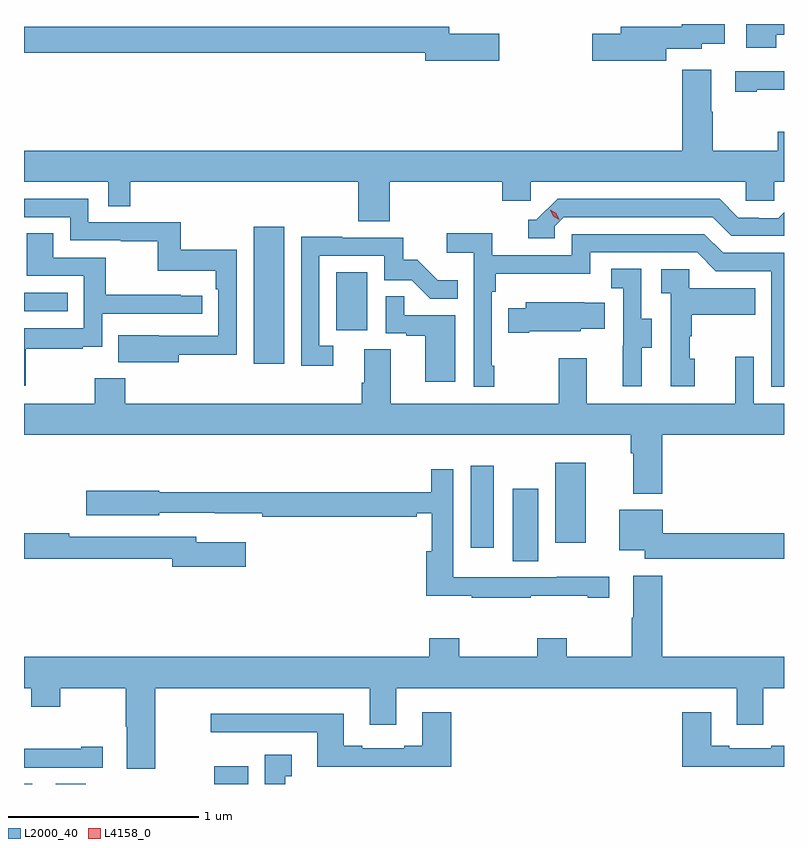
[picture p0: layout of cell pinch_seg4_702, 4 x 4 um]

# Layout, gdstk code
import gdstk
lib = gdstk.Library(unit=1e-6, precision=1e-09)
def R(c, l, rs):  # rectangles x0, y0, x1, y1
    for r in rs: c.add(gdstk.rectangle(r[:2], r[2:], *l))
def P(c, l, *ps):  # polygons
    for p in ps: c.add(gdstk.Polygon(p, *l))
L2000_40 = (2000, 40)
L4158_0 = (4158, 0)

pinch_seg4_702 = lib.new_cell('pinch_seg4_702')
R(pinch_seg4_702, L2000_40, [(888.285,828.283,888.328,828.284), (888.452,828.283,888.61,828.284), (889.286,828.283,889.465,828.376), (890.858,829.456,890.992,829.837), (890.636,829.527,890.758,829.957), (891.08,829.554,891.241,829.975), (889.493,830.496,889.654,831.217), (889.928,830.67,890.092,830.977), (888.285,830.772,888.515,830.868)])
P(pinch_seg4_702, L2000_40, [(892.243,832.226),(892.285,832.226),(892.285,832.283),(892.085,832.283),(892.085,832.158),(892.243,832.158)],
  [(891.664,832.152),(891.852,832.152),(891.852,832.178),(891.973,832.178),(891.973,832.283),(891.746,832.283),(891.746,832.268),(891.425,832.268),(891.425,832.232),(891.276,832.232),(891.276,832.09),(891.664,832.09)],
  [(890.785,832.232),(890.524,832.232),(890.524,832.268),(888.285,832.268),(888.285,832.132),(890.396,832.132),(890.396,832.09),(890.785,832.09)],
  [(890.21,831.452),(890.801,831.452),(890.801,831.354),(890.952,831.354),(890.952,831.452),(892.083,831.452),(892.083,831.354),(892.233,831.354),(892.233,831.452),(892.285,831.452),(892.285,831.715),(892.252,831.715),(892.252,831.616),(891.909,831.616),(891.909,831.821),(891.901,831.821),(891.901,832.042),(891.749,832.042),(891.749,831.616),(888.285,831.616),(888.285,831.452),(888.729,831.452),(888.729,831.325),(888.845,831.325),(888.845,831.452),(890.045,831.452),(890.045,831.244),(890.21,831.244)],
  [(892.141,831.937),(892.285,831.937),(892.285,832.035),(892.029,832.035),(892.029,831.927),(892.141,831.927)],
  [(889.099,830.542),(889.404,830.542),(889.404,831.094),(889.111,831.094),(889.111,831.24),(888.624,831.24),(888.624,831.363),(888.285,831.363),(888.285,831.267),(888.528,831.267),(888.528,831.144),(888.793,831.144),(888.793,831.139),(888.99,831.139),(888.99,830.984),(889.295,830.984),(889.295,830.888),(889.308,830.888),(889.308,830.643),(888.995,830.643),(888.995,830.644),(888.781,830.644),(888.781,830.504),(889.099,830.504)],
  [(891.078,831.219),(891.126,831.267),(891.909,831.267),(892.008,831.168),(892.285,831.168),(892.285,831.292),(892.255,831.261),(892.152,831.261),(892.152,831.264),(892.045,831.264),(891.946,831.363),(891.093,831.363),(890.982,831.252),(890.939,831.252),(890.939,831.156),(891.078,831.156)],
  [(890.761,830.485),(890.748,830.485),(890.748,830.873),(890.768,830.873),(890.768,830.969),(891.264,830.969),(891.264,831.081),(891.828,831.081),(891.927,830.982),(892.218,830.982),(892.218,830.373),(892.285,830.373),(892.285,831.078),(891.964,831.078),(891.865,831.177),(891.168,831.177),(891.168,831.066),(890.75,831.066),(890.75,831.182),(890.511,831.182),(890.511,831.08),(890.652,831.08),(890.652,830.373),(890.761,830.373)],
  [(888.295,830.574),(888.593,830.574),(888.593,830.585),(888.696,830.585),(888.696,830.757),(889.222,830.757),(889.222,830.853),(889.109,830.853),(889.109,830.858),(888.716,830.858),(888.716,831.054),(888.439,831.054),(888.439,831.182),(888.299,831.182),(888.299,830.958),(888.6,830.958),(888.6,830.682),(888.285,830.682),(888.285,830.379),(888.295,830.379)],
  [(889.912,830.589),(889.839,830.589),(889.839,831.063),(890.181,831.063),(890.181,830.934),(890.325,830.934),(890.423,830.836),(890.567,830.836),(890.567,830.935),(890.463,830.935),(890.356,831.042),(890.28,831.042),(890.28,831.159),(889.961,831.159),(889.961,831.164),(889.743,831.164),(889.743,830.484),(889.912,830.484)],
  [(891.535,830.578),(891.589,830.578),(891.589,830.733),(891.534,830.733),(891.534,830.996),(891.375,830.996),(891.375,830.893),(891.438,830.893),(891.438,830.589),(891.437,830.589),(891.437,830.376),(891.535,830.376)],
  [(891.814,830.52),(891.789,830.52),(891.789,830.639),(891.799,830.639),(891.799,830.753),(892.133,830.753),(892.133,830.893),(891.786,830.893),(891.786,830.991),(891.639,830.991),(891.639,830.867),(891.69,830.867),(891.69,830.376),(891.814,830.376)],
  [(890.554,830.751),(890.285,830.751),(890.285,830.849),(890.19,830.849),(890.19,830.655),(890.297,830.655),(890.297,830.643),(890.396,830.643),(890.396,830.4),(890.554,830.4)],
  [(890.944,830.666),(891.216,830.666),(891.216,830.678),(891.341,830.678),(891.341,830.815),(891.233,830.815),(891.233,830.818),(890.927,830.818),(890.927,830.788),(890.833,830.788),(890.833,830.659),(890.944,830.659)],
  [(891.644,830.12),(892.285,830.12),(892.285,830.284),(892.125,830.284),(892.125,830.533),(892.028,830.533),(892.028,830.284),(891.247,830.284),(891.247,830.524),(891.1,830.524),(891.1,830.284),(890.215,830.284),(890.215,830.57),(890.075,830.57),(890.075,830.396),(890.063,830.396),(890.063,830.284),(888.818,830.284),(888.818,830.419),(888.658,830.419),(888.658,830.284),(888.285,830.284),(888.285,830.12),(891.479,830.12),(891.479,830.024),(891.491,830.024),(891.491,829.811),(891.644,829.811)],
  [(890.951,829.273),(891.251,829.273),(891.251,829.263),(891.364,829.263),(891.364,829.373),(891.088,829.373),(891.088,829.371),(890.754,829.371),(890.754,829.372),(890.544,829.372),(890.544,829.939),(890.428,829.939),(890.428,829.819),(888.996,829.819),(888.996,829.827),(888.612,829.827),(888.612,829.697),(888.996,829.697),(888.996,829.71),(889.288,829.71),(889.288,829.709),(889.54,829.709),(889.54,829.69),(890.351,829.69),(890.351,829.709),(890.432,829.709),(890.432,829.507),(890.402,829.507),(890.402,829.273),(890.641,829.273),(890.641,829.263),(890.951,829.263)],
  [(892.285,829.604),(891.646,829.604),(891.646,829.726),(891.419,829.726),(891.419,829.514),(891.552,829.514),(891.552,829.468),(892.285,829.468)],
  [(889.453,829.555),(889.192,829.555),(889.192,829.584),(888.524,829.584),(888.524,829.604),(888.285,829.604),(888.285,829.468),(889.064,829.468),(889.064,829.426),(889.453,829.426)],
  [(888.975,828.788),(890.105,828.788),(890.105,828.594),(890.245,828.594),(890.245,828.788),(892.037,828.788),(892.037,828.594),(892.177,828.594),(892.177,828.788),(892.285,828.788),(892.285,828.952),(891.644,828.952),(891.644,829.378),(891.491,829.378),(891.491,829.157),(891.484,829.157),(891.484,828.952),(891.141,828.952),(891.141,829.051),(890.986,829.051),(890.986,828.952),(890.577,828.952),(890.577,829.051),(890.417,829.051),(890.417,828.952),(888.285,828.952),(888.285,828.788),(888.322,828.788),(888.322,828.689),(888.477,828.689),(888.477,828.788),(888.82,828.788),(888.82,828.584),(888.827,828.584),(888.827,828.363),(888.975,828.363)],
  [(892.285,828.484),(892.217,828.484),(892.217,828.471),(891.997,828.471),(891.997,828.484),(891.901,828.484),(891.901,828.661),(891.749,828.661),(891.749,828.374),(892.285,828.374)],
  [(890.534,828.661),(890.381,828.661),(890.381,828.484),(890.285,828.484),(890.285,828.471),(890.065,828.471),(890.065,828.484),(889.969,828.484),(889.969,828.652),(889.269,828.652),(889.269,828.555),(889.829,828.555),(889.829,828.375),(890.293,828.375),(890.293,828.374),(890.534,828.374)],
  [(888.7,828.478),(888.587,828.478),(888.587,828.468),(888.285,828.468),(888.285,828.369),(888.7,828.369)],
  [(889.66,828.323),(889.693,828.323),(889.693,828.436),(889.553,828.436),(889.553,828.283),(889.66,828.283)])
P(pinch_seg4_702, L4158_0, [(891.101,831.253),(891.071,831.272),(891.055,831.305),(891.055,831.305),(891.055,831.305),(891.086,831.286),(891.101,831.253),(891.101,831.253)])

lib.write_gds('pinch_seg4_702.gds')
